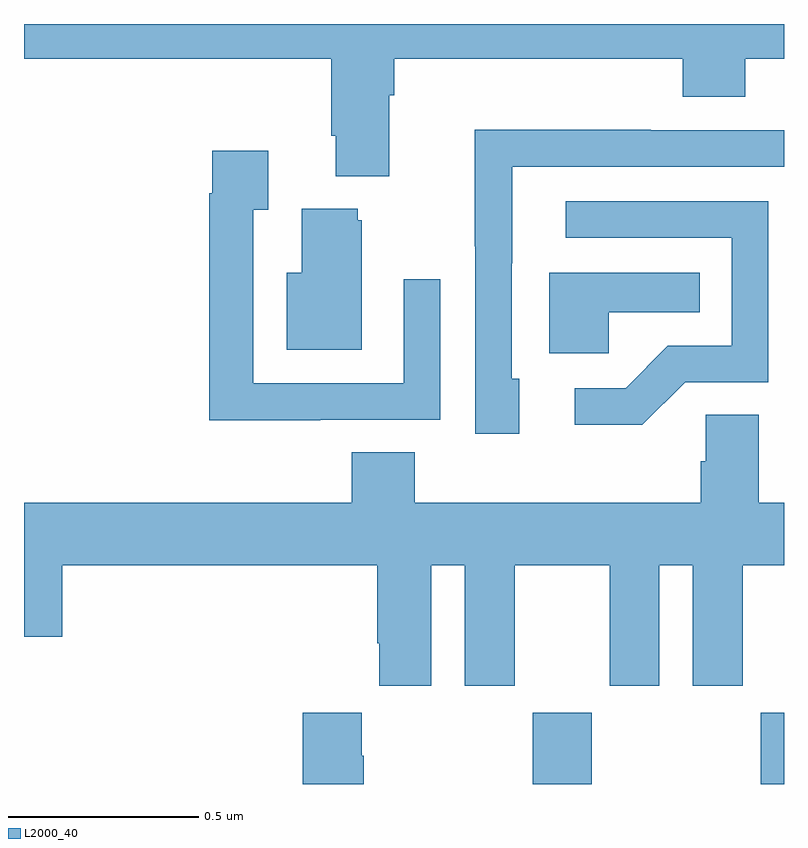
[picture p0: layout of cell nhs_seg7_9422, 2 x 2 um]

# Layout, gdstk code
import gdstk
lib = gdstk.Library(unit=1e-6, precision=1e-09)
def R(c, l, rs):  # rectangles x0, y0, x1, y1
    for r in rs: c.add(gdstk.rectangle(r[:2], r[2:], *l))
def P(c, l, *ps):  # polygons
    for p in ps: c.add(gdstk.Polygon(p, *l))
L2000_40 = (2000, 40)

nhs_seg7_9422 = lib.new_cell('nhs_seg7_9422')
R(nhs_seg7_9422, L2000_40, [(238.339,1040,238.494,1040.188), (238.939,1040,239,1040.188)])
P(nhs_seg7_9422, L2000_40, [(237.961,1041.812),(237.974,1041.812),(237.974,1041.908),(238.733,1041.908),(238.733,1041.809),(238.898,1041.809),(238.898,1041.908),(239,1041.908),(239,1042),(237,1042),(237,1041.908),(237.809,1041.908),(237.809,1041.706),(237.821,1041.706),(237.821,1041.599),(237.961,1041.599)],
  [(238.303,1041.066),(238.284,1041.066),(238.284,1041.37),(238.285,1041.37),(238.285,1041.624),(239,1041.624),(239,1041.72),(238.649,1041.72),(238.649,1041.722),(238.186,1041.722),(238.186,1041.415),(238.188,1041.415),(238.188,1040.922),(238.303,1040.922)],
  [(237.779,1040.958),(238.095,1040.958),(238.095,1041.328),(237.999,1041.328),(237.999,1041.054),(237.603,1041.054),(237.603,1041.511),(237.643,1041.511),(237.643,1041.667),(237.495,1041.667),(237.495,1041.554),(237.487,1041.554),(237.487,1040.957),(237.779,1040.957)],
  [(238.74,1041.057),(238.959,1041.057),(238.959,1041.534),(238.425,1041.534),(238.425,1041.438),(238.863,1041.438),(238.863,1041.153),(238.694,1041.153),(238.583,1041.042),(238.449,1041.042),(238.449,1040.945),(238.627,1040.945)],
  [(237.889,1041.483),(237.878,1041.483),(237.878,1041.514),(237.731,1041.514),(237.731,1041.346),(237.692,1041.346),(237.692,1041.143),(237.889,1041.143)],
  [(238.539,1041.242),(238.778,1041.242),(238.778,1041.346),(238.382,1041.346),(238.382,1041.134),(238.539,1041.134)],
  [(238.072,1040.576),(238.16,1040.576),(238.16,1040.259),(238.291,1040.259),(238.291,1040.576),(238.541,1040.576),(238.541,1040.259),(238.672,1040.259),(238.672,1040.576),(238.76,1040.576),(238.76,1040.259),(238.891,1040.259),(238.891,1040.576),(239,1040.576),(239,1040.74),(238.933,1040.74),(238.933,1040.972),(238.794,1040.972),(238.794,1040.849),(238.781,1040.849),(238.781,1040.74),(238.028,1040.74),(238.028,1040.873),(237.863,1040.873),(237.863,1040.74),(237,1040.74),(237,1040.388),(237.1,1040.388),(237.1,1040.576),(237.929,1040.576),(237.929,1040.371),(237.935,1040.371),(237.935,1040.259),(238.072,1040.259)],
  [(237.894,1040.075),(237.889,1040.075),(237.889,1040.188),(237.734,1040.188),(237.734,1040),(237.894,1040)])

lib.write_gds('nhs_seg7_9422.gds')
